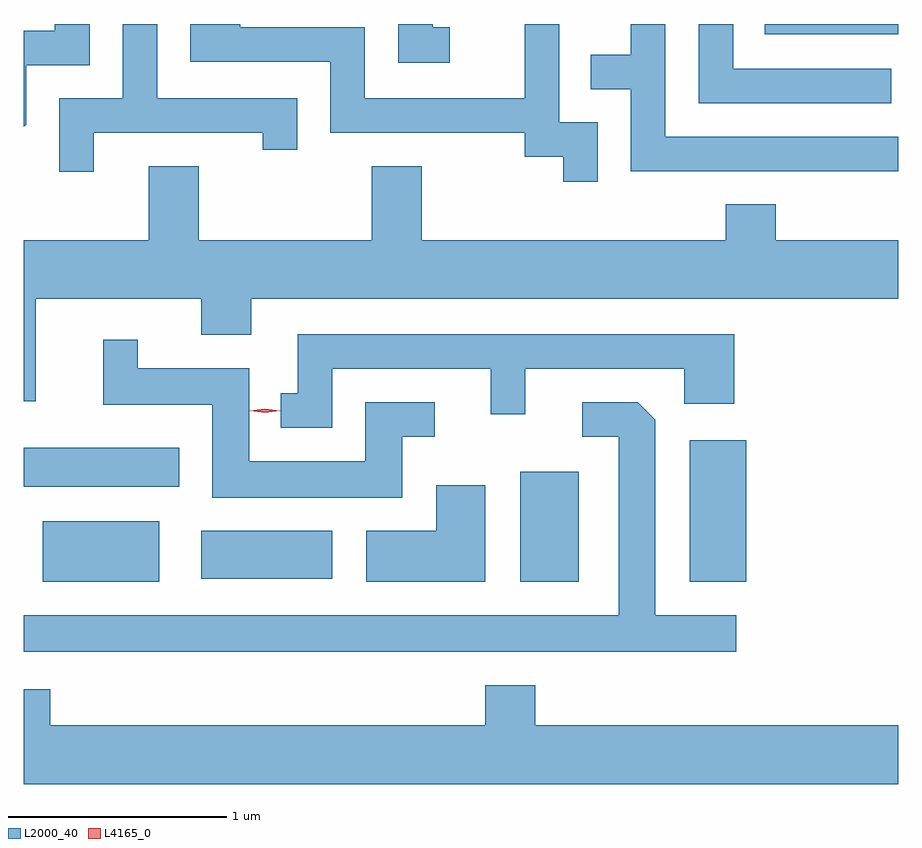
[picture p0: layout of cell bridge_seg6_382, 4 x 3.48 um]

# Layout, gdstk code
import gdstk
lib = gdstk.Library(unit=1e-6, precision=1e-09)
def R(c, l, rs):  # rectangles x0, y0, x1, y1
    for r in rs: c.add(gdstk.rectangle(r[:2], r[2:], *l))
def P(c, l, *ps):  # polygons
    for p in ps: c.add(gdstk.Polygon(p, *l))
L2000_40 = (2000, 40)
L4165_0 = (4165, 0)

bridge_seg6_382 = lib.new_cell('bridge_seg6_382')
R(bridge_seg6_382, L2000_40, [(900.136,1646.421,900.669,1646.699), (902.321,1646.421,902.589,1646.924), (903.096,1646.421,903.354,1647.069), (900.861,1646.436,901.459,1646.654), (900.049,1646.856,900.759,1647.034), (903.438,1648.926,904.049,1648.974)])
P(bridge_seg6_382, L2000_40, [(904.049,1648.459),(902.984,1648.459),(902.984,1648.974),(902.826,1648.974),(902.826,1648.834),(902.643,1648.834),(902.643,1648.676),(902.826,1648.676),(902.826,1648.301),(904.049,1648.301)],
  [(904.018,1648.769),(903.294,1648.769),(903.294,1648.974),(903.136,1648.974),(903.136,1648.611),(904.018,1648.611)],
  [(901.998,1648.959),(901.919,1648.959),(901.919,1648.974),(901.761,1648.974),(901.761,1648.796),(901.998,1648.796)],
  [(900.059,1648.514),(900.059,1648.786),(900.349,1648.786),(900.349,1648.974),(900.191,1648.974),(900.191,1648.944),(900.049,1648.944),(900.049,1648.504)],
  [(900.369,1648.476),(901.141,1648.476),(901.141,1648.398),(901.299,1648.398),(901.299,1648.634),(900.659,1648.634),(900.659,1648.974),(900.501,1648.974),(900.501,1648.634),(900.211,1648.634),(900.211,1648.298),(900.369,1648.298)],
  [(902.674,1648.524),(902.499,1648.524),(902.499,1648.974),(902.341,1648.974),(902.341,1648.634),(901.609,1648.634),(901.609,1648.959),(901.039,1648.959),(901.039,1648.974),(900.811,1648.974),(900.811,1648.801),(901.451,1648.801),(901.451,1648.476),(902.341,1648.476),(902.341,1648.366),(902.516,1648.366),(902.516,1648.253),(902.674,1648.253)],
  [(900.104,1647.716),(900.861,1647.716),(900.861,1647.551),(901.089,1647.551),(901.089,1647.716),(904.049,1647.716),(904.049,1647.984),(903.489,1647.984),(903.489,1648.149),(903.261,1648.149),(903.261,1647.984),(901.869,1647.984),(901.869,1648.324),(901.641,1648.324),(901.641,1647.984),(900.849,1647.984),(900.849,1648.324),(900.621,1648.324),(900.621,1647.984),(900.049,1647.984),(900.049,1647.248),(900.104,1647.248)],
  [(901.459,1647.396),(902.186,1647.396),(902.186,1647.188),(902.344,1647.188),(902.344,1647.396),(903.071,1647.396),(903.071,1647.236),(903.299,1647.236),(903.299,1647.554),(901.301,1647.554),(901.301,1647.284),(901.223,1647.284),(901.223,1647.126),(901.459,1647.126)],
  [(901.779,1647.086),(901.928,1647.086),(901.928,1647.244),(901.611,1647.244),(901.611,1646.974),(901.079,1646.974),(901.079,1647.399),(900.569,1647.399),(900.569,1647.528),(900.411,1647.528),(900.411,1647.231),(900.911,1647.231),(900.911,1646.806),(901.779,1646.806)],
  [(903.308,1646.269),(902.939,1646.269),(902.939,1647.164),(902.859,1647.244),(902.603,1647.244),(902.603,1647.086),(902.771,1647.086),(902.771,1646.269),(900.049,1646.269),(900.049,1646.101),(903.308,1646.101)],
  [(902.159,1646.864),(901.936,1646.864),(901.936,1646.654),(901.616,1646.654),(901.616,1646.421),(902.159,1646.421)],
  [(904.049,1645.764),(902.389,1645.764),(902.389,1645.949),(902.161,1645.949),(902.161,1645.764),(900.169,1645.764),(900.169,1645.929),(900.049,1645.929),(900.049,1645.496),(904.049,1645.496)])
P(bridge_seg6_382, L4165_0, [(901.152,1647.195),(901.082,1647.204),(901.082,1647.204),(901.082,1647.205),(901.152,1647.214),(901.221,1647.205),(901.221,1647.205),(901.221,1647.204)])

lib.write_gds('bridge_seg6_382.gds')
